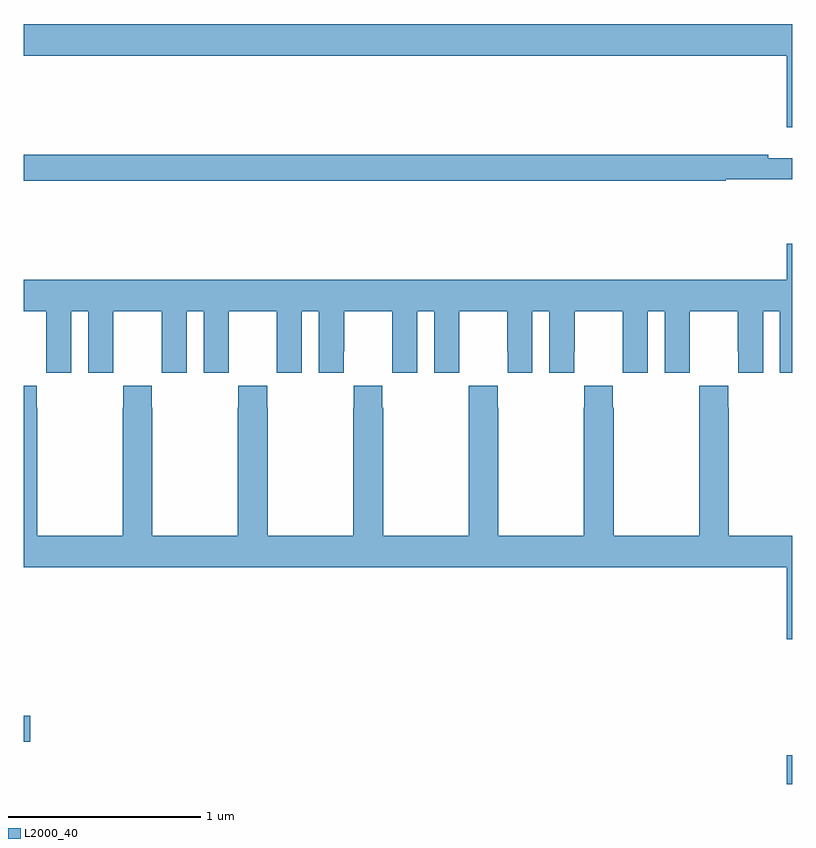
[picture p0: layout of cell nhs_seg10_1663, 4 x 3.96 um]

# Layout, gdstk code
import gdstk
lib = gdstk.Library(unit=1e-6, precision=1e-09)
def R(c, l, rs):  # rectangles x0, y0, x1, y1
    for r in rs: c.add(gdstk.rectangle(r[:2], r[2:], *l))
def P(c, l, *ps):  # polygons
    for p in ps: c.add(gdstk.Polygon(p, *l))
L2000_40 = (2000, 40)

nhs_seg10_1663 = lib.new_cell('nhs_seg10_1663')
R(nhs_seg10_1663, L2000_40, [(200.972,1320.5,201,1320.649), (197,1320.719,197.035,1320.854)])
P(nhs_seg10_1663, L2000_40, [(201,1324.456),(197,1324.456),(197,1324.292),(200.972,1324.292),(200.972,1323.918),(201,1323.918)],
  [(200.655,1323.648),(201,1323.648),(201,1323.757),(200.876,1323.757),(200.876,1323.776),(197,1323.776),(197,1323.64),(200.655,1323.64)],
  [(197.248,1322.96),(197.336,1322.96),(197.336,1322.64),(197.466,1322.64),(197.466,1322.752),(197.467,1322.752),(197.467,1322.96),(197.717,1322.96),(197.717,1322.752),(197.718,1322.752),(197.718,1322.64),(197.848,1322.64),(197.848,1322.96),(197.936,1322.96),(197.936,1322.64),(198.066,1322.64),(198.066,1322.752),(198.067,1322.752),(198.067,1322.96),(198.317,1322.96),(198.317,1322.752),(198.318,1322.752),(198.318,1322.64),(198.448,1322.64),(198.448,1322.96),(198.536,1322.96),(198.536,1322.64),(198.666,1322.64),(198.666,1322.752),(198.667,1322.752),(198.667,1322.96),(198.917,1322.96),(198.917,1322.752),(198.918,1322.752),(198.918,1322.64),(199.048,1322.64),(199.048,1322.96),(199.136,1322.96),(199.136,1322.64),(199.266,1322.64),(199.266,1322.752),(199.267,1322.752),(199.267,1322.96),(199.517,1322.96),(199.517,1322.752),(199.518,1322.752),(199.518,1322.64),(199.648,1322.64),(199.648,1322.96),(199.736,1322.96),(199.736,1322.64),(199.866,1322.64),(199.866,1322.752),(199.867,1322.752),(199.867,1322.96),(200.117,1322.96),(200.117,1322.752),(200.118,1322.752),(200.118,1322.64),(200.248,1322.64),(200.248,1322.96),(200.336,1322.96),(200.336,1322.64),(200.466,1322.64),(200.466,1322.752),(200.467,1322.752),(200.467,1322.96),(200.717,1322.96),(200.717,1322.752),(200.718,1322.752),(200.718,1322.64),(200.848,1322.64),(200.848,1322.96),(200.936,1322.96),(200.936,1322.64),(201,1322.64),(201,1323.313),(200.972,1323.313),(200.972,1323.124),(197,1323.124),(197,1322.96),(197.117,1322.96),(197.117,1322.752),(197.118,1322.752),(197.118,1322.64),(197.248,1322.64)],
  [(200.972,1321.254),(201,1321.254),(201,1321.792),(200.67,1321.792),(200.67,1322.459),(200.667,1322.459),(200.667,1322.572),(200.517,1322.572),(200.517,1322.459),(200.515,1322.459),(200.515,1321.792),(200.07,1321.792),(200.07,1322.459),(200.067,1322.459),(200.067,1322.572),(199.917,1322.572),(199.917,1322.459),(199.915,1322.459),(199.915,1321.792),(199.47,1321.792),(199.47,1322.459),(199.467,1322.459),(199.467,1322.572),(199.317,1322.572),(199.317,1322.459),(199.315,1322.459),(199.315,1321.792),(198.87,1321.792),(198.87,1322.459),(198.867,1322.459),(198.867,1322.572),(198.717,1322.572),(198.717,1322.459),(198.715,1322.459),(198.715,1321.792),(198.27,1321.792),(198.27,1322.459),(198.267,1322.459),(198.267,1322.572),(198.117,1322.572),(198.117,1322.459),(198.115,1322.459),(198.115,1321.792),(197.67,1321.792),(197.67,1322.459),(197.667,1322.459),(197.667,1322.572),(197.517,1322.572),(197.517,1322.459),(197.515,1322.459),(197.515,1321.792),(197.07,1321.792),(197.07,1322.459),(197.067,1322.459),(197.067,1322.572),(197,1322.572),(197,1321.628),(200.972,1321.628)])

lib.write_gds('nhs_seg10_1663.gds')
